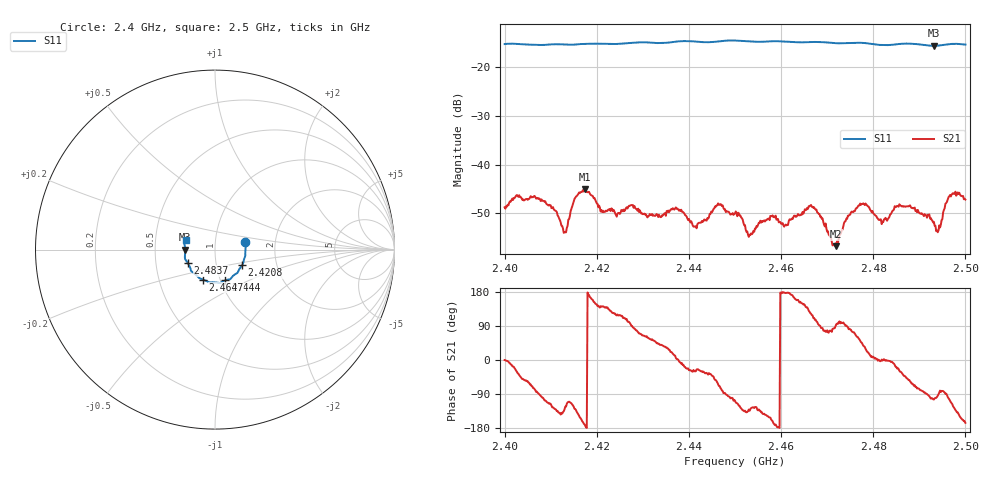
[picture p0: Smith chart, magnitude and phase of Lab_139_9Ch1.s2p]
# Hz S RI R 50
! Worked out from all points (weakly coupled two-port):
!   601 points, 2.4 GHz to 2.5 GHz, reference 50 ohm
!   highest |S21| = -45.06 dB at 2.4175 GHz (marker M1); lowest = -56.7 dB at 2.472 GHz (marker M2)
!   lowest |S11| = -15.6 dB at 2.4932 GHz (marker M3), VSWR 1.40, Z = 35.8 - j0.0922 ohm
!   |S11| at or under -10 dB: start of sweep to end of sweep
!   S12 and S22 are empty: the file has one direction only
!   S11 on the Smith chart (normalised r, x): 2.4 GHz: 1.40, +0.12; 2.4208 GHz: 1.33, -0.24; 2.444 GHz: 1.06, -0.37; 2.4647 GHz: 0.83, -0.29; 2.4837 GHz: 0.73, -0.11; 2.5 GHz: 0.72, +0.08
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2.4e9  0.1677 0.0411  0.00365 -7.96e-06  0 0  0 0
2.406833e9  0.1694 -0.00806  0.000476 -0.00446  0 0  0 0
2.413167e9  0.165 -0.0456  -0.0011 -0.0017  0 0  0 0
2.416667e9  0.1589 -0.0682  -0.00482 -0.00204  0 0  0 0
2.4175e9  0.1571 -0.0736  -0.00555 -0.000643  0 0  0 0
2.420833e9  0.1507 -0.0874  -0.0026 0.00204  0 0  0 0
2.433333e9  0.108 -0.1403  0.00213 0.00197  0 0  0 0
2.444e9  0.0581 -0.1709  0.00228 -0.00167  0 0  0 0
2.4465e9  0.0402 -0.1794  0.00143 -0.00361  0 0  0 0
2.45e9  0.0244 -0.1863  -0.000942 -0.00302  0 0  0 0
2.453333e9  0.00638 -0.1831  -0.00122 -0.00146  0 0  0 0
2.464667e9  -0.0673 -0.1671  -0.0028 0.0017  0 0  0 0
2.466667e9  -0.0801 -0.1627  -0.00177 0.00324  0 0  0 0
2.472e9  -0.1018 -0.1439  -0.000113 0.00145  0 0  0 0
2.477333e9  -0.1329 -0.1185  0.00264 0.00284  0 0  0 0
2.483333e9  -0.1506 -0.0762  0.00283 -0.000107  0 0  0 0
2.483667e9  -0.1523 -0.0735  0.00308 -0.000158  0 0  0 0
2.487667e9  -0.1675 -0.0493  0.00225 -0.00298  0 0  0 0
2.493167e9  -0.1659 -0.00125  -0.000635 -0.0025  0 0  0 0
2.494167e9  -0.1665 0.00971  -2.37e-05 -0.00211  0 0  0 0
2.496833e9  -0.1702 0.0313  -0.0017 -0.0044  0 0  0 0
2.5e9  -0.1625 0.0525  -0.00425 -0.00107  0 0  0 0
